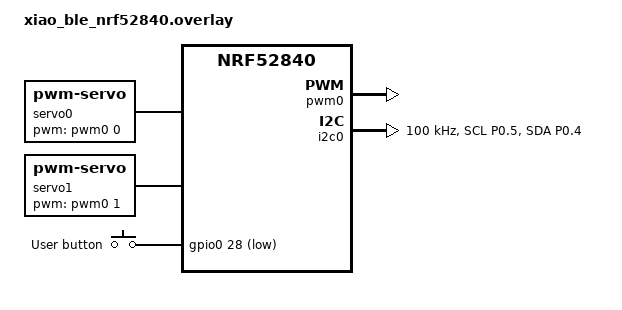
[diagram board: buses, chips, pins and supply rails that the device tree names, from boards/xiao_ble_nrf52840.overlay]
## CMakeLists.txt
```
# SPDX-License-Identifier: Apache-2.0

cmake_minimum_required(VERSION 3.20.0)
find_package(Zephyr REQUIRED HINTS $ENV{ZEPHYR_BASE})
project(servo_motor)

target_sources(app PRIVATE
  src/main.c
  src/led_control.c
  src/bt_central.c
  src/bt_peripheral.c
  src/angle_servo.c
  src/servo.c
  src/gimbal.c
  src/ICM20948.c
  src/button_control.c)
```

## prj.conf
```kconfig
CONFIG_STDOUT_CONSOLE=y
CONFIG_PRINTK=y
CONFIG_PWM=y
CONFIG_GPIO=y
CONFIG_I2C=y
CONFIG_NEWLIB_LIBC=y
CONFIG_NEWLIB_LIBC_FLOAT_PRINTF=y
### UART FLAGS ###
CONFIG_SERIAL=y
CONFIG_CONSOLE=y
CONFIG_UART_CONSOLE=y
CONFIG_SHELL=y
### BLUETOOTH FLAGS ###
CONFIG_BT=y
CONFIG_BT_PERIPHERAL=y
CONFIG_BT_GATT_CLIENT=y # for Central
CONFIG_BT_CENTRAL=y # for Central
# CONFIG_BT_DEVICE_NAME="ZephyrIMU" # for Central
CONFIG_BT_DEVICE_NAME="ZephyrServo" # for Peripherial
CONFIG_BT_MAX_CONN=1
CONFIG_BT_GATT_DYNAMIC_DB=y
### DEBUG ###
CONFIG_DEBUG_OPTIMIZATIONS=y
CONFIG_DEBUG_THREAD_INFO=y
# CONFIG_LOG=y
# CONFIG_LOG_MODE_IMMEDIATE=y
# CONFIG_ASSERT=y
# CONFIG_RESET_ON_FATAL_ERROR=n
# CONFIG_FATAL_ERROR_LOG_LEVEL_DBG=y
# CONFIG_BT_CTLR_TX_PWR_PLUS_10=y # increase transmit power
CONFIG_BT_CTLR_PHY_CODED=y
CONFIG_BT_PHY_UPDATE=y
# generate UF2 file with offset specific for Adafruit bootloader
# CONFIG_BUILD_OUTPUT_UF2=y
# CONFIG_USE_DT_CODE_PARTITION=n
# CONFIG_ROM_START_OFFSET=0x1000
CONFIG_NEWLIB_LIBC=y
CONFIG_NEWLIB_LIBC_NANO=n # use full newlib instead of nano
CONFIG_NEWLIB_LIBC_FLOAT_PRINTF=y # enable float printf support
```

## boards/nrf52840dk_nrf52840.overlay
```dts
&pwm0 {
    status = "okay";
};

&pinctrl {
    pwm0_default: pwm0_default {
        group1 {
            psels = <NRF_PSEL(PWM_OUT0, 1, 1)>,
                    <NRF_PSEL(PWM_OUT1, 1, 2)>;
            nordic,invert;
        };
    };

    pwm0_sleep: pwm0_sleep {
        group1 {
            psels = <NRF_PSEL(PWM_OUT0, 1, 1)>,
                    <NRF_PSEL(PWM_OUT1, 1, 2)>;
            low-power-enable;
        };
    };
};

/{
    servo0: servo0 {
        compatible = "pwm-servo";
        pwms = <&pwm0 0 PWM_MSEC(20) PWM_POLARITY_NORMAL>;
        min-pulse = <PWM_USEC(500)>; 
        max-pulse = <PWM_USEC(2500)>; 
    };

    servo1: servo1 {
        compatible = "pwm-servo";
        pwms = <&pwm0 1 PWM_MSEC(20) PWM_POLARITY_NORMAL>; 
        min-pulse = <PWM_USEC(500)>; 
        max-pulse = <PWM_USEC(2500)>;
    };

    aliases {
        servo-pitch = &servo0;
        servo-yaw = &servo1;
    };
};
```

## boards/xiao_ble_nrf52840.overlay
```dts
&pwm0 {
    status = "okay";
};

&pinctrl {
    pwm0_default: pwm0_default {
        group1 {
            psels = <NRF_PSEL(PWM_OUT0, 0, 2)>,
                    <NRF_PSEL(PWM_OUT1, 0, 3)>;
            nordic,invert;
        };
    };

    pwm0_sleep: pwm0_sleep {
        group1 {
            psels = <NRF_PSEL(PWM_OUT0, 0, 2)>,
                    <NRF_PSEL(PWM_OUT1, 0, 3)>;
            low-power-enable;
        };
    };

    i2c0_default: i2c0_default {
        group1 {
            psels = <NRF_PSEL(TWIM_SCL, 0, 5)>,
                    <NRF_PSEL(TWIM_SDA, 0, 4)>;
        };
    };
};

&i2c0 {
    status = "okay";
    clock-frequency = <I2C_BITRATE_STANDARD>;
    pinctrl-0 = <&i2c0_default>;
    pinctrl-names = "default";
    label = "I2C_0";
};

/ {
    servo0: servo0 {
        compatible = "pwm-servo";
        pwms = <&pwm0 0 PWM_MSEC(20) PWM_POLARITY_NORMAL>;
        min-pulse = <PWM_USEC(500)>;
        max-pulse = <PWM_USEC(2500)>;
    };

    servo1: servo1 {
        compatible = "pwm-servo";
        pwms = <&pwm0 1 PWM_MSEC(20) PWM_POLARITY_NORMAL>;
        min-pulse = <PWM_USEC(500)>;
        max-pulse = <PWM_USEC(2500)>;
    };

    buttons {
        compatible = "gpio-keys";
        button0: button_0 {
            gpios = <&gpio0 28 (GPIO_PULL_UP | GPIO_ACTIVE_LOW)>;
            label = "User button";
        };
    };

    aliases {
        servo-pitch = &servo0;
        servo-yaw = &servo1;
        sw0 = &button0;
    };

};
```

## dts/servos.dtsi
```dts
// / {
//     servos {
//         compatible = "my-servos"; /* optional, custom node */
        
//         vertical_servo: vertical-servo {
//             compatible = "pwm-servo";
//             pwms = <&dummy_pwm 0 PWM_MSEC(20) PWM_POLARITY_NORMAL>; /* will be overridden */
//             min-pulse = <PWM_USEC(1000)>; /* 1ms */
//             max-pulse = <PWM_USEC(2000)>; /* 2ms */
//         };

//         horizontal_servo: horizontal-servo {
//             compatible = "pwm-servo";
//             pwms = <&dummy_pwm 1 PWM_MSEC(20) PWM_POLARITY_NORMAL>; /* will be overridden */
//             min-pulse = <PWM_USEC(1000)>; /* 1ms */
//             max-pulse = <PWM_USEC(2000)>; /* 2ms */
//         };
//     };
// };
```

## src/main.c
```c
#include "ICM20948.h"
#include "bt_central.h"
#include "button_control.h"
#include "led_control.h"
#include <stdio.h>
#include <zephyr/device.h>
#include <zephyr/kernel.h>
#include <zephyr/sys/printk.h>

#define I2C_DEV_LABEL "I2C_0"

static ImuData imu;

static float roll_offset = 0.0f;
static float pitch_offset = 0.0f;
static float yaw_offset = 0.0f;

static void led_timer_callback(struct k_timer *timer_id) {
    led_toggle();
}
K_TIMER_DEFINE(led_timer, led_timer_callback, NULL);

static void on_connected(void) { printk("Connected to peripheral.\n"); }

static void filter_angles_inplace(float *pitch, float *roll) {
    const float alpha = 0.2f;
    static float prev_pitch = 0.0f;
    static float prev_roll = 0.0f;
    prev_pitch = alpha * (*pitch) + (1.0f - alpha) * prev_pitch;
    prev_roll = alpha * (*roll) + (1.0f - alpha) * prev_roll;
    *pitch = prev_pitch;
    *roll = prev_roll;
}

static void send_angle_callback(struct k_timer *timer_id) {
    char message[24];
    float pitch, roll, yaw;
    unsigned int key = irq_lock();
    pitch = imu.pitch_complementary - pitch_offset;
    roll = imu.roll_complementary - roll_offset;
    yaw = imu.yaw_complementary - yaw_offset;
    irq_unlock(key);
    snprintf(message, sizeof(message), "%d; %d; %d", (int)(pitch * 100), (int)(roll * 100), (int)(yaw * 100));

    printk("Sending %s\n", message);
    bt_central_send(message);
}
K_TIMER_DEFINE(send_angle_timer, send_angle_callback, NULL);

static void button_angle_offset_callback(void) {
    roll_offset = imu.roll_complementary;
    pitch_offset = imu.pitch_complementary;
    yaw_offset = imu.yaw_complementary;
    printk("Offsets set: roll=%.2f, pitch=%.2f, yaw=%.2f\n", roll_offset, pitch_offset, yaw_offset);
}

int main(void) {
    led_init();
    k_timer_start(&led_timer, K_SECONDS(1), K_SECONDS(1));

    printk("Start of main\n");

    const struct device *i2c_dev = device_get_binding(I2C_DEV_LABEL);
    if (!i2c_dev) {
        printk("I2C device not found: %s\n", I2C_DEV_LABEL);
        return 0;
    }

    icm_read_whoami(i2c_dev);

    printk("Initializing ICM-20948...\n");
    icm_init(i2c_dev);

    printk("Calibrating gyro...\n");
    icm_calibrate_gyro(i2c_dev, 500);
    printk("Gyro calibrated\n");

    button_init();
    button_set_callback(button_angle_offset_callback);

    bt_central_init(on_connected);
    k_timer_start(&send_angle_timer, K_MSEC(50), K_MSEC(50));

    printk("Start loop...\n");

    while (1) {
        unsigned int key = irq_lock();
        icm_read_data_and_calculate_angle(i2c_dev, &imu);
        irq_unlock(key);
        k_sleep(K_SECONDS(0.01));
    }
}
```

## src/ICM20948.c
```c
#include "ICM20948.h"
#include <math.h>
#include <zephyr/kernel.h>
#include <zephyr/sys/printk.h>

#define REG_BANK_SEL  0x7F
#define WHO_AM_I_REG  0x00
#define PWR_MGMT_1    0x06
#define PWR_MGMT_2    0x07
#define GYRO_CONFIG_1 0x01
#define ACCEL_CONFIG  0x14
#define ACCEL_XOUT_H  0x2D
#define GYRO_XOUT_H   0x33
#define TEMP_OUT_H    0x39

const static float acc_sensitivity = 4096;
const static float gyro_sensitivity = 16.4;
float sampling_time_sec;
float measurement_time;
float last_measurement_time = 0.0f;
float alpha = 0.8f;

double get_time_seconds() {
    return k_uptime_get() / 1000.0f;
}

static int icm_write_reg(const struct device *i2c_dev, uint8_t reg, uint8_t value) {
    uint8_t buf[2] = { reg, value };
    return i2c_write(i2c_dev, buf, 2, ICM20948_ADDR);
}

static int icm_read_reg(const struct device *i2c_dev, uint8_t reg, uint8_t *buf, size_t len) {
    return i2c_write_read(i2c_dev, ICM20948_ADDR, &reg, 1, buf, len);
}

static int icm_read_word(const struct device *i2c_dev, uint8_t reg, int16_t *val) {
    uint8_t data[2];
    int ret = icm_read_reg(i2c_dev, reg, data, 2);
    if (ret == 0) {
        *val = (int16_t)((data[0] << 8) | data[1]);
    }
    return ret;
}

static void icm_select_bank(const struct device *i2c_dev, uint8_t bank) {
    icm_write_reg(i2c_dev, REG_BANK_SEL, bank << 4);
}

static void icm_reset(const struct device *i2c_dev) {
    icm_select_bank(i2c_dev, 0);
    icm_write_reg(i2c_dev, PWR_MGMT_1, 0x80);
    k_msleep(100);
}

static void icm_wake(const struct device *i2c_dev) {
    icm_select_bank(i2c_dev, 0);
    icm_write_reg(i2c_dev, PWR_MGMT_1, 0x01);
    icm_write_reg(i2c_dev, PWR_MGMT_2, 0x00);
}

static void icm_config_sensors(const struct device *i2c_dev) {
    icm_select_bank(i2c_dev, 2);
    icm_write_reg(i2c_dev, GYRO_CONFIG_1, 0x06);
    icm_write_reg(i2c_dev, ACCEL_CONFIG,  0x02);
}

int icm_init(const struct device *i2c_dev) {
    icm_reset(i2c_dev);
    icm_wake(i2c_dev);
    icm_config_sensors(i2c_dev);
    return 0;
}

int icm_read_all_data(const struct device *i2c_dev,
                      int16_t *ax, int16_t *ay, int16_t *az,
                      int16_t *gx, int16_t *gy, int16_t *gz,
                      int16_t *temp) {
    icm_select_bank(i2c_dev, 0);
    if (icm_read_word(i2c_dev, ACCEL_XOUT_H + 0, ax) != 0 ||
        icm_read_word(i2c_dev, ACCEL_XOUT_H + 2, ay) != 0 ||
        icm_read_word(i2c_dev, ACCEL_XOUT_H + 4, az) != 0 ||
        icm_read_word(i2c_dev, GYRO_XOUT_H + 0, gx) != 0 ||
        icm_read_word(i2c_dev, GYRO_XOUT_H + 2, gy) != 0 ||
        icm_read_word(i2c_dev, GYRO_XOUT_H + 4, gz) != 0 ||
        icm_read_word(i2c_dev, TEMP_OUT_H, temp) != 0) {
        return -EIO;
    }
    return 0;
}

static float gyro_offset_x = 0.0f;
static float gyro_offset_y = 0.0f;
static float gyro_offset_z = 0.0f;

void icm_calibrate_gyro(const struct device *i2c_dev, int samples) {
    int32_t sum_x = 0, sum_y = 0, sum_z = 0;
    int16_t gx, gy, gz;
    printk("Calibrating gyro... keep device still\n");
    for (int i = 0; i < samples; ++i) {
        icm_select_bank(i2c_dev, 0);
        icm_read_word(i2c_dev, GYRO_XOUT_H + 0, &gx);
        icm_read_word(i2c_dev, GYRO_XOUT_H + 2, &gy);
        icm_read_word(i2c_dev, GYRO_XOUT_H + 4, &gz);
        sum_x += gx;
        sum_y += gy;
        sum_z += gz;
        k_msleep(2);
    }
    gyro_offset_x = (float)sum_x / samples;
    gyro_offset_y = (float)sum_y / samples;
    gyro_offset_z = (float)sum_z / samples;
    printk("Gyro offsets: x=%.2f, y=%.2f, z=%.2f\n", gyro_offset_x, gyro_offset_y, gyro_offset_z);
}

int icm_read_data_and_calculate_angle(const struct device *i2c_dev, ImuData *imu) {
    measurement_time = get_time_seconds();
    sampling_time_sec = measurement_time - last_measurement_time;
    last_measurement_time = measurement_time;
    icm_select_bank(i2c_dev, 0);

    int16_t acc_x, acc_y, acc_z;
    int16_t gyro_x, gyro_y, gyro_z;
    int16_t raw_temp;

    if (icm_read_word(i2c_dev, ACCEL_XOUT_H + 0, &acc_x) != 0 ||
        icm_read_word(i2c_dev, ACCEL_XOUT_H + 2, &acc_y) != 0 ||
        icm_read_word(i2c_dev, ACCEL_XOUT_H + 4, &acc_z) != 0 ||
        icm_read_word(i2c_dev, GYRO_XOUT_H + 0, &gyro_x) != 0 ||
        icm_read_word(i2c_dev, GYRO_XOUT_H + 2, &gyro_y) != 0 ||
        icm_read_word(i2c_dev, GYRO_XOUT_H + 4, &gyro_z) != 0 ||
        icm_read_word(i2c_dev, TEMP_OUT_H, &raw_temp) != 0) 
    {
        return -EIO;
    }

    gyro_x -= (int16_t)gyro_offset_x;
    gyro_y -= (int16_t)gyro_offset_y;
    gyro_z -= (int16_t)gyro_offset_z;

    imu->accelerometer_raw.x = acc_x;
    imu->accelerometer_raw.y = acc_y;
    imu->accelerometer_raw.z = acc_z;

    imu->gyroscope_raw.x = gyro_x;
    imu->gyroscope_raw.y = gyro_y;
    imu->gyroscope_raw.z = gyro_z;

    imu->accelerometer_scaled.x = (float)imu->accelerometer_raw.x / acc_sensitivity;
	imu->accelerometer_scaled.y = (float)imu->accelerometer_raw.y / acc_sensitivity;
	imu->accelerometer_scaled.z = (float)imu->accelerometer_raw.z / acc_sensitivity;

    imu->gyroscope_scaled.x = (float)imu->gyroscope_raw.x / gyro_sensitivity;
    imu->gyroscope_scaled.y = (float)imu->gyroscope_raw.y / gyro_sensitivity;
    imu->gyroscope_scaled.z = (float)imu->gyroscope_raw.z / gyro_sensitivity;

    imu->pitch_acc = atan2(imu->accelerometer_scaled.y, imu->accelerometer_scaled.z) * 180.0/M_PI;
    imu->pitch_gyro = imu->gyroscope_scaled.x;
    imu->pitch_complementary = alpha * (imu->pitch_complementary + imu->pitch_gyro * sampling_time_sec) + (1.0f - alpha) * imu->pitch_acc;
   
    imu->roll_acc = atan2(imu->accelerometer_scaled.x, imu->accelerometer_scaled.z) * 180.0/M_PI;
    imu->roll_gyro = imu->gyroscope_scaled.y;
    imu->roll_complementary = alpha * (imu->roll_complementary + imu->roll_gyro * sampling_time_sec) + (1.0f - alpha) * imu->roll_acc;

    imu->yaw_acc = atan2(imu->accelerometer_scaled.x, imu->accelerometer_scaled.y) * 180.0/M_PI;
    imu->yaw_gyro = imu->gyroscope_scaled.z;
    imu->yaw_complementary = alpha * (imu->yaw_complementary + imu->yaw_gyro * sampling_time_sec) + (1.0f - alpha) * imu->yaw_acc;

    imu->temp = raw_temp;
    return 0;
}


void icm_read_whoami(const struct device *i2c_dev) {
    uint8_t reg_addr = WHO_AM_I_REG;
    uint8_t who_am_i = 0;
    int ret = i2c_write_read(i2c_dev, ICM20948_ADDR, &reg_addr, 1, &who_am_i, 1);
    if (ret != 0) {
        printk("WHO_AM_I read error: %d\n", ret);
    } else {
        printk("WHO_AM_I: 0x%02X\n", who_am_i);
    }
}
```

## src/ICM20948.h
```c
#ifndef ICM20948_H
#define ICM20948_H

#include <zephyr/device.h>
#include <zephyr/drivers/i2c.h>
#include <stdint.h>

#ifndef M_PI
#define M_PI 3.14159265358979323846
#endif

#define ICM20948_ADDR 0x68

typedef struct {
    int16_t x;  
    int16_t y;
    int16_t z;
} AxisData;

typedef struct {
    float x;  
    float y;
    float z;
} AxisDataFloat;

typedef struct {
    AxisData accelerometer_raw;
    AxisData gyroscope_raw;
    AxisDataFloat accelerometer_scaled;
    AxisDataFloat gyroscope_scaled;
    float pitch_acc;
    float roll_acc;
    float yaw_acc;
    float pitch_gyro;
    float roll_gyro;
    float yaw_gyro;
    float pitch_complementary;
    float roll_complementary;
    float yaw_complementary;
    int16_t temp;
} ImuData;

int icm_init(const struct device *i2c_dev);
int icm_read_all_data(const struct device *i2c_dev,
                      int16_t *ax, int16_t *ay, int16_t *az,
                      int16_t *gx, int16_t *gy, int16_t *gz,
                      int16_t *temp);
void icm_read_whoami(const struct device *i2c_dev);
int icm_read_data_and_calculate_angle(const struct device *i2c_dev, ImuData *imu);
void icm_calibrate_gyro(const struct device *i2c_dev, int samples);

#endif
```

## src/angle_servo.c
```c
#include "angle_servo.h"

int angle_servo_init(angle_servo_t *as, const servo_dt_spec *servo, float min_angle, float max_angle)
{
    if (!servo_is_ready_dt(servo))
        return -1;

    as->servo = *servo;
    as->min_angle = min_angle;
    as->max_angle = max_angle;
    float range_angle = max_angle - min_angle;
    float range_pulse = (float)(servo->max_pulse - servo->min_pulse);
    if (0.0f == range_angle)
        as->ratio = 0.0f;
    else
        as->ratio = (range_pulse / range_angle);
    return 0;
}

int angle_servo_set_angle(const angle_servo_t *as, float angle_deg)
{
    if (angle_deg < as->min_angle)
        angle_deg = as->min_angle;
    if (angle_deg > as->max_angle)
        angle_deg = as->max_angle;
    uint32_t pulse = as->servo.min_pulse + (uint32_t)((angle_deg - as->min_angle) * as->ratio);
    return servo_set_pulse(&as->servo, pulse);
}
```

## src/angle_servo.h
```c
#ifndef ANGLE_SERVO_H
#define ANGLE_SERVO_H

#include "servo.h"

typedef struct angle_servo_t
{
    servo_dt_spec servo;
    float min_angle;
    float max_angle;
    float ratio; // (max_pulse - min_pulse) / (max_angle - min_angle)
} angle_servo_t;

int angle_servo_init(angle_servo_t *as, const servo_dt_spec *servo, float min_angle, float max_angle);
int angle_servo_set_angle(const angle_servo_t *as, float angle_deg);

#endif // ANGLE_SERVO_H
```

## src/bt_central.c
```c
#include "bt_central.h"
#include <zephyr/bluetooth/bluetooth.h>
#include <zephyr/bluetooth/conn.h>
#include <zephyr/bluetooth/gatt.h>
#include <zephyr/sys/printk.h>
#include <string.h>

#define TARGET_NAME "ZephyrServo"

static struct bt_conn *default_conn;
static struct bt_gatt_discover_params discover_params;
static struct bt_gatt_write_params write_params;
static bt_central_connected_cb_t connected_cb;
static struct bt_uuid_128 remote_char_uuid = BT_UUID_INIT_128(
    BT_UUID_128_ENCODE(0xabcdefab, 0x1234, 0x5678, 0x1234, 0x56789abcdef0));

static uint16_t char_handle;

static bool check_name(struct bt_data *data, void *user_data)
{
    const char *name = user_data;

    if (data->type == BT_DATA_NAME_COMPLETE) {
        if (strlen(name) == data->data_len &&
            !memcmp(data->data, name, data->data_len)) {
            return true;
        }
    }
    return false;
}

static uint8_t discover_func(struct bt_conn *conn,
                             const struct bt_gatt_attr *attr,
                             struct bt_gatt_discover_params *params)
{
    if (!attr) {
        printk("Discovery complete\n");
        return BT_GATT_ITER_STOP;
    }

    struct bt_gatt_chrc *chrc = (struct bt_gatt_chrc *)attr->user_data;
    char_handle = chrc->value_handle;
    printk("Discovered char handle: 0x%04x\n", char_handle);

    if (connected_cb) {
        connected_cb();
    }

    return BT_GATT_ITER_STOP;
}

static void connected(struct bt_conn *conn, uint8_t err)
{
    if (err) {
        printk("Connection failed (err %u)\n", err);
        return;
    }

    printk("Connected() callback triggered, err = %d\n", err);
    default_conn = bt_conn_ref(conn);
    discover_params.uuid = &remote_char_uuid.uuid;
    discover_params.func = discover_func;
    discover_params.start_handle = 0x0001;
    discover_params.end_handle = 0xffff;
    discover_params.type = BT_GATT_DISCOVER_CHARACTERISTIC;

    bt_gatt_discover(default_conn, &discover_params);
}

static void disconnected(struct bt_conn *conn, uint8_t reason)
{
    printk("Disconnected (reason %u)\n", reason);
    if (default_conn) {
        bt_conn_unref(default_conn);
        default_conn = NULL;
    }
}

struct device_name_check {
    const char *name;
    bool found;
};

static bool device_found(struct bt_data *data, void *user_data)
{
    struct device_name_check *check = user_data;

    if (data->type == BT_DATA_NAME_COMPLETE) {
        if (strlen(check->name) == data->data_len &&
            !memcmp(data->data, check->name, data->data_len)) {
            check->found = true;
            return false; // stop parsing 
        }
    }
    return true; // continue parsing
}

static void scan_cb(const bt_addr_le_t *addr, int8_t rssi, uint8_t type,
                    struct net_buf_simple *ad)
{
    if (default_conn) {
        return;
    }

    char addr_str[BT_ADDR_LE_STR_LEN];
    bt_addr_le_to_str(addr, addr_str, sizeof(addr_str));

    struct device_name_check check = {
        .name = TARGET_NAME,
        .found = false,
    };

    bt_data_parse(ad, device_found, &check);

    if (check.found) {
        printk("Found target device: %s (RSSI %d), connecting...\n", addr_str, rssi);

        bt_le_scan_stop();

        struct bt_conn_le_create_param *create_param =
            BT_CONN_LE_CREATE_PARAM(BT_CONN_LE_OPT_NONE,
                                   BT_GAP_SCAN_FAST_INTERVAL,
                                   BT_GAP_SCAN_FAST_INTERVAL);
        struct bt_le_conn_param *conn_param = BT_LE_CONN_PARAM_DEFAULT;

        int err = bt_conn_le_create(addr, create_param, conn_param, &default_conn);
        if (err) {
            printk("Connection failed: %d\n", err);
        }
    } else {
        printk("Skipping device: %s (name not matched)\n", addr_str);
    }
}

static struct bt_conn_cb conn_callbacks = {
    .connected = connected,
    .disconnected = disconnected,
};


int bt_central_init(bt_central_connected_cb_t cb)
{
    int err;
    connected_cb = cb;

    err = bt_enable(NULL);
    if (err) {
        printk("Bluetooth init failed (err %d)\n", err);
        return err;
    }

    // Set TX power to +8 dBm (maximum)
    // err = bt_set_tx_power(BT_TX_POWER_LEVEL_DEFAULT, 8);
    // if (err) {
    // printk("Failed to set TX power (err %d)\n", err);
    // }
    
    bt_conn_cb_register(&conn_callbacks);

    err = bt_le_scan_start(BT_LE_SCAN_ACTIVE, scan_cb);
    if (err) {
        printk("Scanning failed to start (err %d)\n", err);
        return err;
    }

    printk("Central scanning started\n");
    return 0;
}

int bt_central_send(const char *data)
{
    if (!default_conn || !char_handle) {
        printk("Not connected or handle not discovered\n");
        return -1;
    }

    write_params.handle = char_handle;
    write_params.offset = 0;
    write_params.data = data;
    write_params.length = strlen(data);
    write_params.func = NULL;

    // return bt_gatt_write(default_conn, &write_params);
    return bt_gatt_write_without_response(default_conn, char_handle, data, strlen(data), false);

}
```

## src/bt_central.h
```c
#ifndef BT_CENTRAL_H
#define BT_CENTRAL_H

typedef void (*bt_central_connected_cb_t)(void);
int bt_central_init(bt_central_connected_cb_t cb);
int bt_central_send(const char *data);

#endif // BT_CENTRAL_H
```

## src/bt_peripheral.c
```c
#include "bt_peripheral.h"
#include <zephyr/bluetooth/bluetooth.h>
#include <zephyr/bluetooth/gatt.h>
#include <zephyr/sys/printk.h>
#include <string.h>

static char value_buf[100] = "Init";
static bt_peripheral_recv_cb_t recv_cb = NULL;

static ssize_t read_func(struct bt_conn *conn,
                         const struct bt_gatt_attr *attr,
                         void *buf, uint16_t len, uint16_t offset)
{
    const char *value = attr->user_data;
    size_t value_len = strlen(value);

    if (offset > value_len) {
        return BT_GATT_ERR(BT_ATT_ERR_INVALID_OFFSET);
    }

    size_t to_copy = MIN(len, value_len - offset);
    memcpy(buf, value + offset, to_copy);
    return to_copy;
}

static ssize_t write_func(struct bt_conn *conn,
                          const struct bt_gatt_attr *attr,
                          const void *buf, uint16_t len, uint16_t offset, uint8_t flags)
{
    if (offset + len >= sizeof(value_buf)) {
        return BT_GATT_ERR(BT_ATT_ERR_INVALID_OFFSET);
    }

    memcpy(value_buf + offset, buf, len);
    value_buf[offset + len] = '\0';

    if (recv_cb) {
        recv_cb(value_buf);
    }

    return len;
}

BT_GATT_SERVICE_DEFINE(my_service,
    BT_GATT_PRIMARY_SERVICE(BT_UUID_DECLARE_128(BT_UUID_128_ENCODE(
        0x12345678, 0x1234, 0x5678, 0x1234, 0x56789abcdef0))),
    BT_GATT_CHARACTERISTIC(BT_UUID_DECLARE_128(BT_UUID_128_ENCODE(
        0xabcdefab, 0x1234, 0x5678, 0x1234, 0x56789abcdef0)),
        BT_GATT_CHRC_READ | BT_GATT_CHRC_WRITE,
        BT_GATT_PERM_READ | BT_GATT_PERM_WRITE,
        read_func, write_func, value_buf),
);

int bt_peripheral_init(bt_peripheral_recv_cb_t cb)
{
    int err;
    struct bt_le_adv_param adv_params = {
        .options = BT_LE_ADV_OPT_CONNECTABLE | BT_LE_ADV_OPT_USE_NAME | BT_LE_ADV_OPT_CODED,
        .interval_min = BT_GAP_ADV_FAST_INT_MIN_2,  // 11.25 ms * 2 = 22.5 ms
        .interval_max = BT_GAP_ADV_FAST_INT_MAX_2,  // 11.25 ms * 4 = 45 ms
        .id = BT_ID_DEFAULT,
    };

    recv_cb = cb;

    err = bt_enable(NULL);
    if (err) {
        printk("Bluetooth init failed (err %d)\n", err);
        return err;
    }

    err = bt_le_adv_start(&adv_params, NULL, 0, NULL, 0);
    if (err) {
        printk("Advertising failed to start (err %d)\n", err);
        return err;
    }

    printk("Peripheral advertising started with Coded PHY\n");
    return 0;
}
```

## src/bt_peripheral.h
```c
#ifndef BT_PERIPHERAL_H
#define BT_PERIPHERAL_H

typedef void (*bt_peripheral_recv_cb_t)(const char *data);

int bt_peripheral_init(bt_peripheral_recv_cb_t cb);

#endif
```

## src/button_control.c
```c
#include "button_control.h"
#include <zephyr/devicetree.h>
#include <zephyr/drivers/gpio.h>
#include <zephyr/sys/printk.h>

#define BUTTON_NODE DT_ALIAS(sw0)

static struct gpio_dt_spec button = GPIO_DT_SPEC_GET_OR(BUTTON_NODE, gpios, {0});
static struct gpio_callback button_cb_data;
static void (*button_user_callback)(void) = NULL;

static void button_irq_handler(const struct device *dev, struct gpio_callback *cb, uint32_t pins) {
    if (button_user_callback) {
        button_user_callback();
    }
}

void button_set_callback(void (*cb)(void)) { button_user_callback = cb; }

int button_init(void) {
    if (!device_is_ready(button.port)) {
        printk("Button GPIO device not ready!\n");
        return -1;
    }
    int ret = gpio_pin_configure_dt(&button, GPIO_INPUT | GPIO_PULL_UP);
    if (ret != 0) {
        printk("Failed to configure button pin!\n");
        return ret;
    }
    ret = gpio_pin_interrupt_configure_dt(&button, GPIO_INT_EDGE_TO_ACTIVE);
    if (ret != 0) {
        printk("Failed to configure button interrupt!\n");
        return ret;
    }
    gpio_init_callback(&button_cb_data, button_irq_handler, BIT(button.pin));
    gpio_add_callback(button.port, &button_cb_data);
    return 0;
}

bool button_is_pressed(void) {
    if (!device_is_ready(button.port))
        return false;
    return gpio_pin_get_dt(&button) == 0; // active low with pull-up
}
```

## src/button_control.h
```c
#ifndef BUTTON_CONTROL_H
#define BUTTON_CONTROL_H

#include <zephyr/device.h>
#include <zephyr/drivers/gpio.h>
#include <stdbool.h>

int button_init(void);
bool button_is_pressed(void);

#endif // BUTTON_CONTROL_H
```

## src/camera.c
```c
#include "camera.h"
#include <zephyr/drivers/gpio.h>

#define CAMERA_PORT "GPIO_0"
#define CAMERA_PIN 28
static const struct device *camera_dev = NULL;

int camera_init(void) {
    camera_dev = device_get_binding(CAMERA_PORT);
    if (!camera_dev) {
        printk("Camera GPIO device not found!\n");
        return -1;
    }
    int ret = gpio_pin_configure(camera_dev, CAMERA_PIN, GPIO_OUTPUT_HIGH); // P-MOSFET: HIGH = OFF
    if (ret != 0) {
        printk("Failed to configure camera pin!\n");
        return -1;
    }
    return 0;
}

void camera_on(void) {
    // P-MOSFET: LOW = ON
    gpio_pin_set(camera_dev, CAMERA_PIN, 0);
}

void camera_off(void) {
    // P-MOSFET: HIGH = OFF
    gpio_pin_set(camera_dev, CAMERA_PIN, 1);
}
```

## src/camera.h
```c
#ifndef CAMERA_H
#define CAMERA_H

#include <zephyr/device.h>
#include <zephyr/drivers/gpio.h>

int camera_init(void);
void camera_on(void);
void camera_off(void);

#endif // CAMERA_H
```
